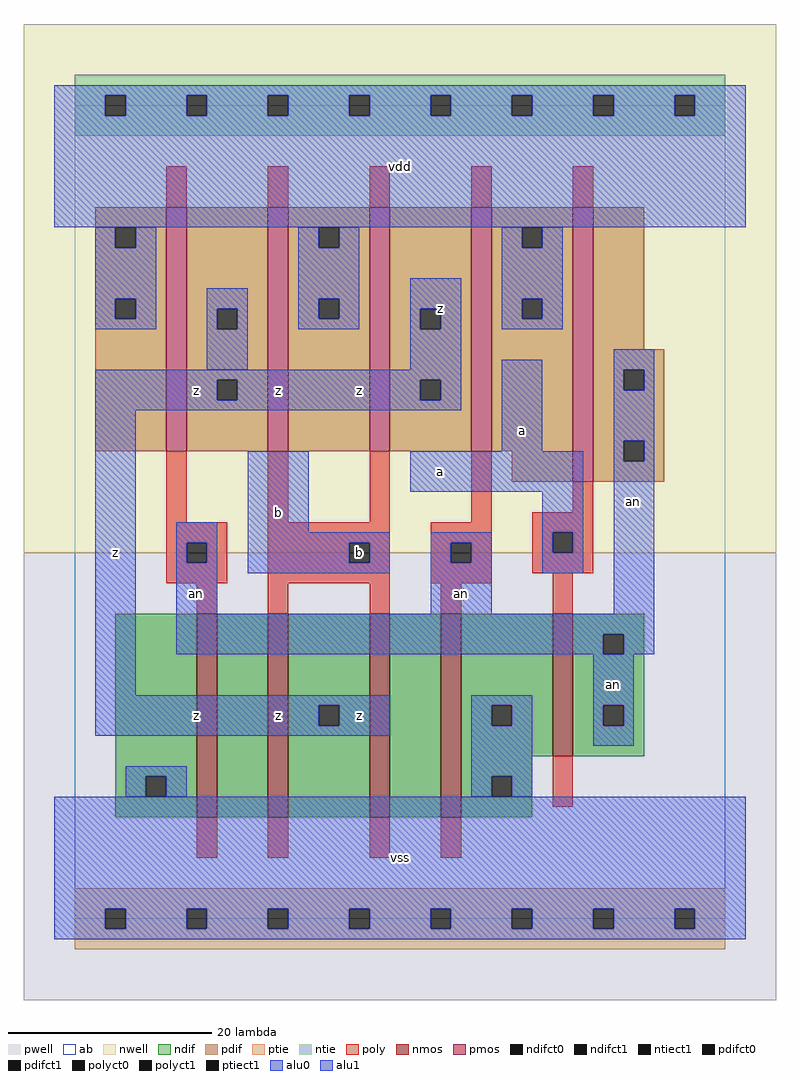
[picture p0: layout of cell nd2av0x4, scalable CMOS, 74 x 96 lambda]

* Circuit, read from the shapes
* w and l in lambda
.subckt nd2av0x4 a an b vdd vss z
M1 n1 an vss vss nfet w=20 l=2
M2 z b n1 vss nfet w=20 l=2
M3 n2 b z vss nfet w=20 l=2
M4 vss an n2 vss nfet w=20 l=2
M5 an a vss vss nfet w=14 l=2
M6 z an vdd vdd pfet w=24 l=2 m=2
M7 vdd b z vdd pfet w=24 l=2 m=2
M8 an a vdd vdd pfet w=27 l=2
.ends

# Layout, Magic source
magic
tech scmos
<< ab >>
rect 0 0 64 80
<< nwell >>
rect -5 36 69 88
<< pwell >>
rect -5 -8 69 36
<< poly >>
rect 9 70 11 74
rect 19 70 21 74
rect 29 70 31 74
rect 39 70 41 74
rect 49 70 51 74
rect 9 39 11 46
rect 19 39 21 46
rect 29 39 31 46
rect 39 39 41 46
rect 49 40 51 43
rect 9 37 15 39
rect 9 35 11 37
rect 13 35 15 37
rect 9 33 15 35
rect 19 37 31 39
rect 19 35 27 37
rect 29 35 31 37
rect 19 33 31 35
rect 35 37 41 39
rect 35 35 37 37
rect 39 35 41 37
rect 35 33 41 35
rect 45 38 51 40
rect 45 36 47 38
rect 49 36 51 38
rect 45 34 51 36
rect 12 30 14 33
rect 19 30 21 33
rect 29 30 31 33
rect 36 30 38 33
rect 47 30 49 34
rect 47 11 49 16
rect 12 6 14 10
rect 19 6 21 10
rect 29 6 31 10
rect 36 6 38 10
<< ndif >>
rect 4 14 12 30
rect 4 12 7 14
rect 9 12 12 14
rect 4 10 12 12
rect 14 10 19 30
rect 21 21 29 30
rect 21 19 24 21
rect 26 19 29 21
rect 21 10 29 19
rect 31 10 36 30
rect 38 21 47 30
rect 38 19 41 21
rect 43 19 47 21
rect 38 16 47 19
rect 49 28 56 30
rect 49 26 52 28
rect 54 26 56 28
rect 49 21 56 26
rect 49 19 52 21
rect 54 19 56 21
rect 49 16 56 19
rect 38 14 45 16
rect 38 12 41 14
rect 43 12 45 14
rect 38 10 45 12
<< pdif >>
rect 2 68 9 70
rect 2 66 4 68
rect 6 66 9 68
rect 2 61 9 66
rect 2 59 4 61
rect 6 59 9 61
rect 2 46 9 59
rect 11 60 19 70
rect 11 58 14 60
rect 16 58 19 60
rect 11 53 19 58
rect 11 51 14 53
rect 16 51 19 53
rect 11 46 19 51
rect 21 68 29 70
rect 21 66 24 68
rect 26 66 29 68
rect 21 61 29 66
rect 21 59 24 61
rect 26 59 29 61
rect 21 46 29 59
rect 31 60 39 70
rect 31 58 34 60
rect 36 58 39 60
rect 31 53 39 58
rect 31 51 34 53
rect 36 51 39 53
rect 31 46 39 51
rect 41 68 49 70
rect 41 66 44 68
rect 46 66 49 68
rect 41 61 49 66
rect 41 59 44 61
rect 46 59 49 61
rect 41 46 49 59
rect 43 43 49 46
rect 51 56 56 70
rect 51 54 58 56
rect 51 52 54 54
rect 56 52 58 54
rect 51 47 58 52
rect 51 45 54 47
rect 56 45 58 47
rect 51 43 58 45
<< alu1 >>
rect -2 81 66 82
rect -2 79 3 81
rect 5 79 11 81
rect 13 79 19 81
rect 21 79 27 81
rect 29 79 35 81
rect 37 79 43 81
rect 45 79 51 81
rect 53 79 59 81
rect 61 79 66 81
rect -2 68 66 79
rect 33 60 38 63
rect 33 58 34 60
rect 36 58 38 60
rect 33 54 38 58
rect 2 53 38 54
rect 2 51 14 53
rect 16 51 34 53
rect 36 51 38 53
rect 2 50 38 51
rect 2 22 6 50
rect 42 46 46 55
rect 17 38 23 46
rect 33 42 50 46
rect 46 38 50 42
rect 17 37 31 38
rect 17 35 27 37
rect 29 35 31 37
rect 17 34 31 35
rect 46 36 47 38
rect 49 36 50 38
rect 46 34 50 36
rect 2 21 31 22
rect 2 19 24 21
rect 26 19 31 21
rect 2 18 31 19
rect -2 1 66 12
rect -2 -1 3 1
rect 5 -1 11 1
rect 13 -1 19 1
rect 21 -1 27 1
rect 29 -1 35 1
rect 37 -1 43 1
rect 45 -1 51 1
rect 53 -1 59 1
rect 61 -1 66 1
rect -2 -2 66 -1
<< ptie >>
rect 0 1 64 3
rect 0 -1 3 1
rect 5 -1 11 1
rect 13 -1 19 1
rect 21 -1 27 1
rect 29 -1 35 1
rect 37 -1 43 1
rect 45 -1 51 1
rect 53 -1 59 1
rect 61 -1 64 1
rect 0 -3 64 -1
<< ntie >>
rect 0 81 64 83
rect 0 79 3 81
rect 5 79 11 81
rect 13 79 19 81
rect 21 79 27 81
rect 29 79 35 81
rect 37 79 43 81
rect 45 79 51 81
rect 53 79 59 81
rect 61 79 64 81
rect 0 77 64 79
<< nmos >>
rect 12 10 14 30
rect 19 10 21 30
rect 29 10 31 30
rect 36 10 38 30
rect 47 16 49 30
<< pmos >>
rect 9 46 11 70
rect 19 46 21 70
rect 29 46 31 70
rect 39 46 41 70
rect 49 43 51 70
<< polyct0 >>
rect 11 35 13 37
rect 37 35 39 37
<< polyct1 >>
rect 27 35 29 37
rect 47 36 49 38
<< ndifct0 >>
rect 7 12 9 14
rect 41 19 43 21
rect 52 26 54 28
rect 52 19 54 21
rect 41 12 43 14
<< ndifct1 >>
rect 24 19 26 21
<< ntiect1 >>
rect 3 79 5 81
rect 11 79 13 81
rect 19 79 21 81
rect 27 79 29 81
rect 35 79 37 81
rect 43 79 45 81
rect 51 79 53 81
rect 59 79 61 81
<< ptiect1 >>
rect 3 -1 5 1
rect 11 -1 13 1
rect 19 -1 21 1
rect 27 -1 29 1
rect 35 -1 37 1
rect 43 -1 45 1
rect 51 -1 53 1
rect 59 -1 61 1
<< pdifct0 >>
rect 4 66 6 68
rect 4 59 6 61
rect 14 58 16 60
rect 24 66 26 68
rect 24 59 26 61
rect 44 66 46 68
rect 44 59 46 61
rect 54 52 56 54
rect 54 45 56 47
<< pdifct1 >>
rect 14 51 16 53
rect 34 58 36 60
rect 34 51 36 53
<< alu0 >>
rect 2 66 4 68
rect 6 66 8 68
rect 2 61 8 66
rect 22 66 24 68
rect 26 66 28 68
rect 2 59 4 61
rect 6 59 8 61
rect 2 58 8 59
rect 13 60 17 62
rect 13 58 14 60
rect 16 58 17 60
rect 22 61 28 66
rect 42 66 44 68
rect 46 66 48 68
rect 22 59 24 61
rect 26 59 28 61
rect 22 58 28 59
rect 42 61 48 66
rect 42 59 44 61
rect 46 59 48 61
rect 42 58 48 59
rect 13 54 17 58
rect 53 54 57 56
rect 53 52 54 54
rect 56 52 57 54
rect 53 47 57 52
rect 10 37 14 39
rect 10 35 11 37
rect 13 35 14 37
rect 10 30 14 35
rect 35 37 41 38
rect 35 35 37 37
rect 39 35 41 37
rect 35 30 41 35
rect 53 45 54 47
rect 56 45 57 47
rect 53 30 57 45
rect 10 28 57 30
rect 10 26 52 28
rect 54 26 57 28
rect 39 21 45 22
rect 39 19 41 21
rect 43 19 45 21
rect 5 14 11 15
rect 5 12 7 14
rect 9 12 11 14
rect 39 14 45 19
rect 51 21 55 26
rect 51 19 52 21
rect 54 19 55 21
rect 51 17 55 19
rect 39 12 41 14
rect 43 12 45 14
<< labels >>
rlabel alu0 12 32 12 32 6 an
rlabel alu0 38 32 38 32 6 an
rlabel alu0 53 23 53 23 6 an
rlabel alu0 55 41 55 41 6 an
rlabel alu1 12 20 12 20 6 z
rlabel alu1 4 36 4 36 6 z
rlabel alu1 12 52 12 52 6 z
rlabel alu1 20 20 20 20 6 z
rlabel alu1 28 20 28 20 6 z
rlabel polyct1 28 36 28 36 6 b
rlabel alu1 20 40 20 40 6 b
rlabel alu1 20 52 20 52 6 z
rlabel alu1 28 52 28 52 6 z
rlabel alu1 32 6 32 6 6 vss
rlabel alu1 36 44 36 44 6 a
rlabel alu1 44 48 44 48 6 a
rlabel alu1 36 60 36 60 6 z
rlabel alu1 32 74 32 74 6 vdd
<< end >>
